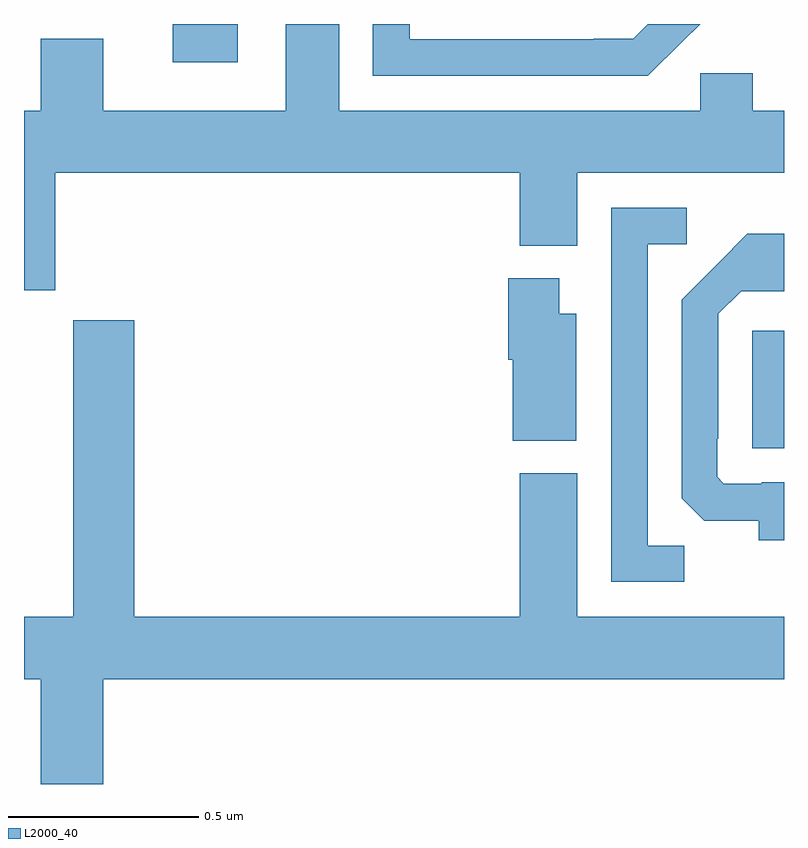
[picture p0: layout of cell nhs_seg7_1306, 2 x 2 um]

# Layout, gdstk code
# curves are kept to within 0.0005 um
import gdstk
lib = gdstk.Library(unit=1e-6, precision=1e-09)
def R(c, l, rs):  # rectangles x0, y0, x1, y1
    for r in rs: c.add(gdstk.rectangle(r[:2], r[2:], *l))
def P(c, l, *ps):  # polygons
    for p in ps: c.add(gdstk.Polygon(p, *l))
L2000_40 = (2000, 40)

nhs_seg7_1306 = lib.new_cell('nhs_seg7_1306')
R(nhs_seg7_1306, L2000_40, [(130.917,1007.883,131,1008.193), (129.392,1008.9,129.562,1009)])
P(nhs_seg7_1306, L2000_40, [(129.082,1008.608),(130.304,1008.608),(130.304,1008.416),(130.456,1008.416),(130.456,1008.608),(131,1008.608),(131,1008.772),(130.918,1008.772),(130.918,1008.87),(130.779,1008.87),(130.779,1008.772),(129.829,1008.772),(129.829,1009),(129.689,1009),(129.689,1008.772),(129.208,1008.772),(129.208,1008.961),(129.044,1008.961),(129.044,1008.772),(129,1008.772),(129,1008.299),(129.082,1008.299)],
  [(130.733,1008.955),(130.734,1008.954),(130.78,1009),(130.642,1009),(130.603,1008.961),(130.499,1008.961),(130.499,1008.96),(130.015,1008.96),(130.015,1009),(129.918,1009),(129.918,1008.864),(130.642,1008.864)],
  [(130.737,1007.627),(130.641,1007.627),(130.641,1008.42),(130.744,1008.42),(130.744,1008.516),(130.545,1008.516),(130.545,1007.532),(130.737,1007.532)],
  [(131,1007.794),(130.942,1007.794),(130.942,1007.79),(130.842,1007.79),(130.824,1007.808),(130.824,1007.908),(130.827,1007.908),(130.827,1008.237),(130.887,1008.297),(131,1008.297),(131,1008.448),(130.903,1008.448),(130.731,1008.274),(130.731,1007.752),(130.79,1007.693),(130.934,1007.693),(130.934,1007.642),(131,1007.642)],
  [(130.453,1008.238),(130.408,1008.238),(130.408,1008.331),(130.274,1008.331),(130.274,1008.117),(130.286,1008.117),(130.286,1007.903),(130.453,1007.903)],
  [(129.208,1007.276),(131,1007.276),(131,1007.44),(130.456,1007.44),(130.456,1007.818),(130.304,1007.818),(130.304,1007.44),(129.29,1007.44),(129.29,1008.22),(129.13,1008.22),(129.13,1007.44),(129,1007.44),(129,1007.276),(129.044,1007.276),(129.044,1007),(129.208,1007)])

lib.write_gds('nhs_seg7_1306.gds')
